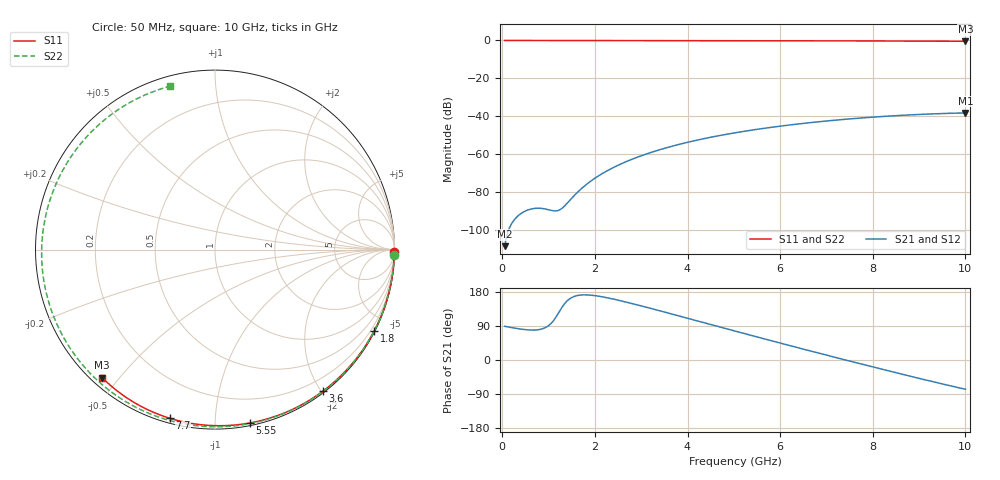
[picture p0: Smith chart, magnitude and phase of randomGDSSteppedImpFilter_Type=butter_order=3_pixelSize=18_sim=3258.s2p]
! freq	dB(S11)	phase(S11)	dB(S12)	phase(S12)
!  dB(S21)	phase(S21)	dB(S22)	phase(S22)
!S-par simulation data
#  GHz  S  DB  R 50
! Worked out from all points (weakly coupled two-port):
!   200 points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, 50 MHz to 10 GHz, reference 50 ohm
!   highest |S21| = -38.21 dB at 10 GHz (marker M1); lowest = -108.5 dB at 50 MHz (marker M2)
!   lowest |S11| = -0.4 dB at 10 GHz (marker M3), VSWR 39.93, Z = 1.51 - j22.5 ohm
!   |S11| at or under -10 dB: nowhere
!   |S22| runs from -0.5 to 0.0 dB; largest |S21 - S12| = 0
!   S11 on the Smith chart (normalised r, x): 50 MHz: open; 1.8 GHz: 0.04, -4.18; 3.6 GHz: 0.02, -2.02; 5.55 GHz: 0.02, -1.22; 7.7 GHz: 0.02, -0.77; 10 GHz: 0.03, -0.45
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0.05  -0.00 -0.8  -108.50 89.0  -108.50 89.0  -0.00 -1.6
0.4  -0.01 -6.1  -91.33 81.6  -91.33 81.6  -0.02 -12.8
0.8  -0.02 -12.1  -88.49 80.4  -88.49 80.4  -0.03 -25.4
1.6  -0.03 -24.0  -80.65 169.5  -80.65 169.5  -0.06 -49.8
1.65  -0.03 -24.7  -79.47 170.8  -79.47 170.8  -0.06 -51.3
1.75  -0.03 -26.2  -77.27 171.9  -77.27 171.9  -0.07 -54.2
1.8  -0.03 -26.9  -76.25 171.9  -76.25 171.9  -0.07 -55.7
2.1  -0.04 -31.3  -71.07 168.0  -71.07 168.0  -0.08 -64.4
2.45  -0.05 -36.4  -66.40 159.4  -66.40 159.4  -0.09 -74.3
2.9  -0.06 -42.8  -61.71 146.0  -61.71 146.0  -0.11 -86.5
3.4  -0.07 -49.9  -57.62 129.9  -57.62 129.9  -0.12 -99.6
3.6  -0.07 -52.6  -56.22 123.4  -56.22 123.4  -0.13 -104.6
4.3  -0.09 -62.2  -52.07 100.3  -52.07 100.3  -0.16 -121.8
5.05  -0.11 -72.2  -48.60 75.6  -48.60 75.6  -0.19 -139.2
5.55  -0.13 -78.6  -46.70 59.2  -46.70 59.2  -0.22 -150.5
6.15  -0.15 -86.2  -44.74 39.9  -44.74 39.9  -0.25 -163.9
6.7  -0.18 -93.0  -43.21 22.3  -43.21 22.3  -0.29 -176.0
7.2  -0.21 -99.1  -42.02 6.6  -42.02 6.6  -0.32 172.9
7.7  -0.24 -105.0  -40.98 -9.0  -40.98 -9.0  -0.36 161.6
8.35  -0.29 -112.6  -39.88 -29.0  -39.88 -29.0  -0.40 146.6
9.25  -0.36 -122.9  -38.77 -55.8  -38.77 -55.8  -0.46 124.8
10  -0.44 -131.4  -38.21 -77.2  -38.21 -77.2  -0.50 105.5
